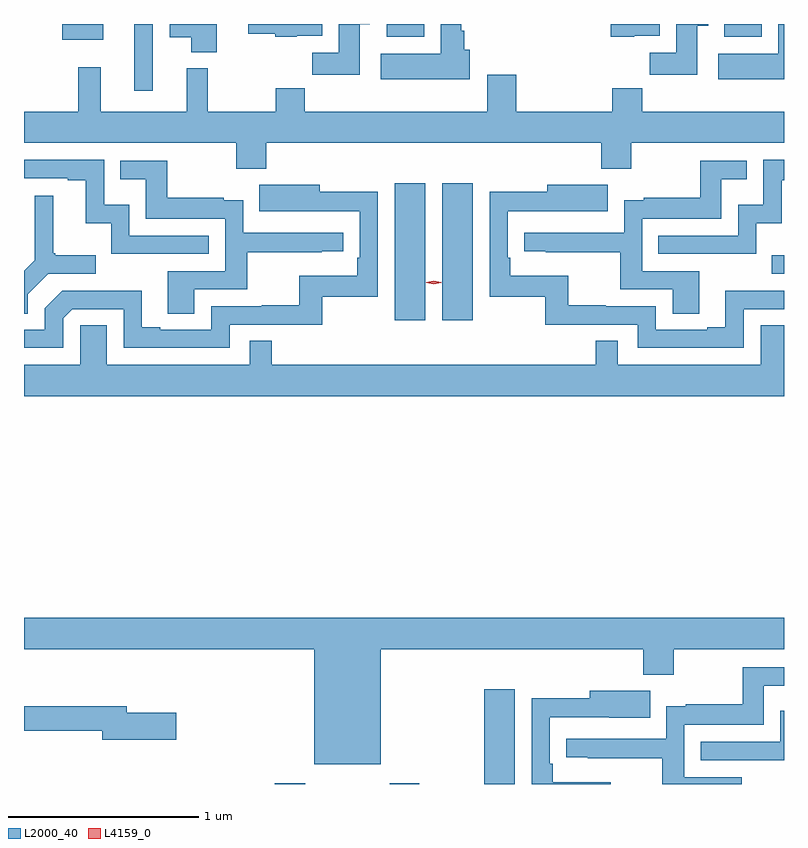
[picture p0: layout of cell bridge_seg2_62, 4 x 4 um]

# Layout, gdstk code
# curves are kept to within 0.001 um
import gdstk
lib = gdstk.Library(unit=1e-6, precision=1e-09)
def R(c, l, rs):  # rectangles x0, y0, x1, y1
    for r in rs: c.add(gdstk.rectangle(r[:2], r[2:], *l))
def P(c, l, *ps):  # polygons
    for p in ps: c.add(gdstk.Polygon(p, *l))
L2000_40 = (2000, 40)
L4159_0 = (4159, 0)

bridge_seg2_62 = lib.new_cell('bridge_seg2_62')
R(bridge_seg2_62, L2000_40, [(1107.533,650.922,1107.693,650.926), (1108.138,650.922,1108.293,650.926), (1108.634,650.922,1108.795,651.421), (1108.163,653.364,1108.324,654.085), (1108.412,653.364,1108.573,654.085), (1110.147,653.607,1110.212,653.704), (1106.792,654.57,1106.889,654.922), (1106.414,654.839,1106.629,654.922), (1108.121,654.854,1108.318,654.922), (1109.897,654.854,1110.094,654.922), (1108.601,654.92,1108.78,654.922)])
P(bridge_seg2_62, L2000_40, [(1107.979,654.92),(1108.033,654.92),(1108.033,654.922),(1107.869,654.922),(1107.869,654.772),(1107.73,654.772),(1107.73,654.654),(1107.979,654.654)],
  [(1109.424,654.86),(1109.557,654.86),(1109.557,654.922),(1109.299,654.922),(1109.299,654.854),(1109.424,654.854)],
  [(1107.226,654.922),(1106.978,654.922),(1106.978,654.851),(1107.092,654.851),(1107.092,654.773),(1107.226,654.773)],
  [(1110.212,654.922),(1110.182,654.922),(1110.182,654.766),(1109.865,654.766),(1109.865,654.632),(1110.212,654.632)],
  [(1108.558,654.786),(1108.528,654.786),(1108.528,654.886),(1108.513,654.886),(1108.513,654.922),(1108.406,654.922),(1108.406,654.766),(1108.089,654.766),(1108.089,654.632),(1108.558,654.632)],
  [(1109.755,654.913),(1109.812,654.913),(1109.812,654.922),(1109.645,654.922),(1109.645,654.772),(1109.506,654.772),(1109.506,654.654),(1109.755,654.654)],
  [(1107.648,654.86),(1107.781,654.86),(1107.781,654.922),(1107.393,654.922),(1107.393,654.872),(1107.534,654.872),(1107.534,654.854),(1107.648,654.854)],
  [(1109.309,654.584),(1109.309,654.46),(1108.802,654.46),(1108.802,654.655),(1108.649,654.655),(1108.649,654.46),(1107.689,654.46),(1107.689,654.584),(1107.538,654.584),(1107.538,654.46),(1107.178,654.46),(1107.178,654.688),(1107.068,654.688),(1107.068,654.46),(1106.615,654.46),(1106.615,654.694),(1106.497,654.694),(1106.497,654.46),(1106.212,654.46),(1106.212,654.296),(1107.328,654.296),(1107.328,654.161),(1107.488,654.161),(1107.488,654.296),(1109.249,654.296),(1109.249,654.161),(1109.409,654.161),(1109.409,654.296),(1110.212,654.296),(1110.212,654.46),(1109.465,654.46),(1109.465,654.584)],
  [(1107.185,653.808),(1106.766,653.808),(1106.766,653.971),(1106.634,653.971),(1106.634,654.207),(1106.212,654.207),(1106.212,654.111),(1106.441,654.111),(1106.441,654.099),(1106.537,654.099),(1106.537,653.873),(1106.67,653.873),(1106.67,653.712),(1107.185,653.712)],
  [(1110.066,653.873),(1110.199,653.873),(1110.199,654.099),(1110.212,654.099),(1110.212,654.207),(1110.102,654.207),(1110.102,653.971),(1109.97,653.971),(1109.97,653.808),(1109.551,653.808),(1109.551,653.712),(1110.066,653.712)],
  [(1109.767,653.622),(1109.466,653.622),(1109.466,653.898),(1109.883,653.898),(1109.883,654.104),(1110.017,654.104),(1110.017,654.201),(1109.772,654.201),(1109.772,654.007),(1109.473,654.007),(1109.473,653.995),(1109.37,653.995),(1109.37,653.823),(1108.845,653.823),(1108.845,653.727),(1108.957,653.727),(1108.957,653.722),(1109.35,653.722),(1109.35,653.526),(1109.627,653.526),(1109.627,653.398),(1109.767,653.398)],
  [(1107.109,653.526),(1107.386,653.526),(1107.386,653.722),(1107.779,653.722),(1107.779,653.727),(1107.892,653.727),(1107.892,653.823),(1107.366,653.823),(1107.366,653.995),(1107.263,653.995),(1107.263,654.007),(1106.965,654.007),(1106.965,654.201),(1106.719,654.201),(1106.719,654.104),(1106.854,654.104),(1106.854,653.898),(1107.27,653.898),(1107.27,653.622),(1106.969,653.622),(1106.969,653.398),(1107.109,653.398)],
  [(1106.418,653.373),(1106.466,653.421),(1106.736,653.421),(1106.736,653.217),(1107.294,653.217),(1107.294,653.34),(1107.781,653.34),(1107.781,653.487),(1108.074,653.487),(1108.074,654.038),(1107.769,654.038),(1107.769,654.076),(1107.451,654.076),(1107.451,653.936),(1107.978,653.937),(1107.978,653.692),(1107.965,653.692),(1107.965,653.596),(1107.66,653.596),(1107.66,653.441),(1107.463,653.441),(1107.463,653.436),(1107.198,653.436),(1107.198,653.313),(1106.929,653.313),(1106.929,653.326),(1106.833,653.326),(1106.833,653.519),(1106.628,653.519),(1106.628,653.517),(1106.412,653.517),(1106.322,653.427),(1106.322,653.313),(1106.212,653.313),(1106.212,653.217),(1106.418,653.217)],
  [(1110,653.421),(1110.212,653.421),(1110.212,653.517),(1110.108,653.517),(1110.108,653.519),(1109.903,653.519),(1109.903,653.326),(1109.807,653.326),(1109.807,653.313),(1109.538,653.313),(1109.538,653.436),(1109.273,653.436),(1109.273,653.441),(1109.077,653.441),(1109.077,653.596),(1108.772,653.596),(1108.772,653.692),(1108.758,653.692),(1108.758,653.937),(1109.071,653.937),(1109.071,653.936),(1109.285,653.936),(1109.285,654.076),(1108.967,654.076),(1108.967,654.038),(1108.662,654.038),(1108.662,653.487),(1108.956,653.487),(1108.956,653.34),(1109.442,653.34),(1109.442,653.217),(1110,653.217)],
  [(1106.233,653.5),(1106.34,653.607),(1106.59,653.607),(1106.59,653.704),(1106.377,653.704),(1106.377,653.716),(1106.365,653.716),(1106.365,654.019),(1106.268,654.019),(1106.268,653.679),(1106.212,653.623),(1106.212,653.398),(1106.233,653.398)],
  [(1110.212,653.336),(1110.089,653.336),(1110.089,653.128),(1109.337,653.128),(1109.337,653.255),(1109.221,653.255),(1109.221,653.128),(1107.515,653.128),(1107.515,653.255),(1107.399,653.255),(1107.399,653.128),(1106.647,653.128),(1106.647,653.336),(1106.508,653.336),(1106.508,653.128),(1106.212,653.128),(1106.212,652.964),(1110.212,652.964)],
  [(1106.212,651.632),(1107.74,651.632),(1107.74,651.026),(1108.09,651.026),(1108.09,651.632),(1109.471,651.632),(1109.471,651.497),(1109.631,651.497),(1109.631,651.632),(1110.212,651.632),(1110.212,651.796),(1106.212,651.796)],
  [(1109.989,650.958),(1109.688,650.958),(1109.688,651.234),(1110.105,651.234),(1110.105,651.44),(1110.212,651.44),(1110.212,651.537),(1109.994,651.537),(1109.994,651.343),(1109.695,651.343),(1109.695,651.331),(1109.592,651.331),(1109.592,651.159),(1109.067,651.159),(1109.067,651.063),(1109.179,651.063),(1109.179,651.058),(1109.572,651.058),(1109.572,650.922),(1109.989,650.922)],
  [(1109.299,650.932),(1108.994,650.932),(1108.994,651.028),(1108.98,651.028),(1108.98,651.273),(1109.293,651.273),(1109.293,651.272),(1109.507,651.272),(1109.507,651.412),(1109.189,651.412),(1109.189,651.374),(1108.884,651.374),(1108.884,650.922),(1109.299,650.922)],
  [(1107.013,651.297),(1106.752,651.297),(1106.752,651.331),(1106.212,651.331),(1106.212,651.202),(1106.624,651.202),(1106.624,651.155),(1107.013,651.155)],
  [(1110.212,651.307),(1110.192,651.307),(1110.192,651.144),(1109.773,651.144),(1109.773,651.048),(1110.212,651.048)])
P(bridge_seg2_62, L4159_0, [(1108.368,653.552),(1108.328,653.561),(1108.328,653.562),(1108.328,653.562),(1108.368,653.572),(1108.408,653.562),(1108.408,653.562),(1108.408,653.561)])

lib.write_gds('bridge_seg2_62.gds')
